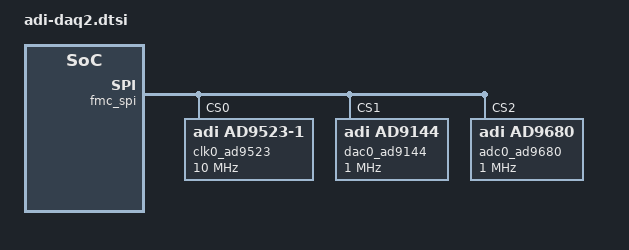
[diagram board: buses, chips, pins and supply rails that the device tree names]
// SPDX-License-Identifier: GPL-2.0
/*
 * Analog Devices AD-FMCDAQ2-EBZ
 * Link: https://wiki.analog.com/resources/eval/user-guides/ad-fmcdaq2-ebz
 *
 * board_revision: <Rev.C or later>
 *
 * Copyright 2016-2022 Analog Devices Inc.
 */
#include <dt-bindings/iio/adc/adi,ad9208.h>

&fmc_spi {
	clk0_ad9523: ad9523-1@0 {
		#address-cells = <1>;
		#size-cells = <0>;
		compatible = "adi,ad9523-1";
		reg = <0>;

		spi-max-frequency = <10000000>;

		clock-output-names =
			"ad9523-1_out0", "ad9523-1_out1", "ad9523-1_out2",
			"ad9523-1_out3", "ad9523-1_out4", "ad9523-1_out5",
			"ad9523-1_out6", "ad9523-1_out7", "ad9523-1_out8",
			"ad9523-1_out9", "ad9523-1_out10", "ad9523-1_out11",
			"ad9523-1_out12", "ad9523-1_out13";
		#clock-cells = <1>;

		adi,vcxo-freq = <125000000>;
		adi,spi-3wire-enable;
		adi,pll1-bypass-enable;
		adi,osc-in-diff-enable;

		adi,pll2-charge-pump-current-nA = <413000>;

		/*
		 * Valid ranges based on VCO locking range:
		 *    980.00 MHz - 1033.33 MHz
		 *    735.00 MHz -  775.00 MHz
		 *    588.00 MHz -  620.00 MHz
		 */
		adi,pll2-m1-freq = <1000000000>;

		/* Manual PLL2 divider configuration */
//		adi,pll2-r2-div = <1>;
//		adi,pll2-vco-div-m1 = <3>;
//		adi,pll2-ndiv-a-cnt = <0>; /* a = N % 4 */
//		adi,pll2-ndiv-b-cnt = <6>; /* b = N / 4 */

		adi,rpole2 = <0>;
		adi,rzero = <7>;
		adi,cpole1 = <2>;

		ad9523_0_c1:channel@1 {
			reg = <1>;
			adi,extended-name = "DAC_CLK";
			adi,driver-mode = <3>;
			adi,divider-phase = <1>;
			adi,channel-divider = <1>;
		};

		ad9523_0_c4:channel@4 {
			reg = <4>;
			adi,extended-name = "ADC_CLK_FMC";
			adi,driver-mode = <3>;
			adi,divider-phase = <1>;
			adi,channel-divider = <2>;
		};

		ad9523_0_c5:channel@5 {
			reg = <5>;
			adi,extended-name = "ADC_SYSREF";
			adi,driver-mode = <3>;
			adi,divider-phase = <1>;
			adi,channel-divider = <128>;
		};

		ad9523_0_c6:channel@6 {
			reg = <6>;
			adi,extended-name = "CLKD_ADC_SYSREF";
			adi,driver-mode = <3>;
			adi,divider-phase = <1>;
			adi,channel-divider = <128>;
		};

		ad9523_0_c7:channel@7 {
			reg = <7>;
			adi,extended-name = "CLKD_DAC_SYSREF";
			adi,driver-mode = <3>;
			adi,divider-phase = <1>;
			adi,channel-divider = <128>;
		};

		ad9523_0_c8:channel@8 {
			reg = <8>;
			adi,extended-name = "DAC_SYSREF";
			adi,driver-mode = <3>;
			adi,divider-phase = <1>;
			adi,channel-divider = <128>;
		};

		ad9523_0_c9:channel@9 {
			reg = <9>;
			adi,extended-name = "FMC_DAC_REF_CLK";
			adi,driver-mode = <3>;
			adi,divider-phase = <1>;
			adi,channel-divider = <2>;
		};

		ad9523_0_c13:channel@13 {
			reg = <13>;
			adi,extended-name = "ADC_CLK";
			adi,driver-mode = <3>;
			adi,divider-phase = <1>;
			adi,channel-divider = <1>;
		};
	};

	dac0_ad9144: ad9144@1 {
		#address-cells = <1>;
		#size-cells = <0>;
		compatible = "adi,ad9144";
		reg = <1>;

		spi-max-frequency = <1000000>;

		clocks = <&clk0_ad9523 1>;
		clock-names = "dac_clk";

		/*
		 * | MODE | M | L | S | F | HD | N  | N' |
		 * |  00  | 4 | 8 | 1 | 1 | 1  | 16 | 16 |
		 * |  01  | 4 | 8 | 2 | 2 | 0  | 16 | 16 |
		 * |  02  | 4 | 4 | 1 | 2 | 0  | 16 | 16 |
		 * |  03  | 4 | 2 | 1 | 4 | 0  | 16 | 16 |
		 * |  04  | 2 | 4 | 1 | 1 | 1  | 16 | 16 |
		 * |  05  | 2 | 4 | 2 | 2 | 0  | 16 | 16 |
		 * |  06  | 2 | 2 | 1 | 2 | 0  | 16 | 16 |
		 * |  07  | 2 | 1 | 1 | 4 | 0  | 16 | 16 |
		 * |  08  | 1 | 4 | 2 | 1 | 1  | 16 | 16 |
		 * |  09  | 1 | 2 | 1 | 1 | 1  | 16 | 16 |
		 * |  10  | 1 | 1 | 1 | 2 | 0  | 16 | 16 |
		 * |  11  | 2 | 8 | 2 | 1 | 1  | 16 | 16 |
		 * |  12  | 2 | 4 | 1 | 1 | 1  | 16 | 16 |
		 * |  13  | 2 | 2 | 1 | 2 | 0  | 16 | 16 |
		 */

		adi,jesd-link-mode = <4>;
		adi,sysref-mode = <1>; /* JESD204_SYSREF_CONTINUOUS */
		adi,subclass = <1>;
		adi,interpolation = <1>;
		adi,frequency-center-shift = <0>;

		/* jesd204-fsm support */
		jesd204-device;
		#jesd204-cells = <2>;
		jesd204-top-device = <1>; /* This is the TOP device */
		jesd204-link-ids = <0>;
		jesd204-inputs = <&axi_ad9144_core 1 0>;
	};

	adc0_ad9680: ad9680@2 {
		#address-cells = <1>;
		#size-cells = <0>;
		compatible = "adi,ad9680";
		reg = <2>;

		spi-max-frequency = <1000000>;

		clocks = <&axi_ad9680_jesd>, <&clk0_ad9523 13>, <&clk0_ad9523 5>;
		clock-names = "jesd_adc_clk", "adc_clk", "adc_sysref";

		/* jesd204-fsm support */
		jesd204-device;
		#jesd204-cells = <2>;
		jesd204-top-device = <0>; /* This is the TOP device */
		jesd204-link-ids = <0>;
		jesd204-inputs = <&axi_ad9680_core 0 0>;

		adi,powerdown-mode = <AD9208_PDN_MODE_POWERDOWN>;

		adi,sampling-frequency = /bits/ 64 <1000000000>;
		adi,input-clock-divider-ratio = <1>;

		adi,sysref-lmfc-offset = <0>;
		adi,sysref-pos-window-skew = <0>;
		adi,sysref-neg-window-skew = <0>;
		adi,sysref-mode = <AD9208_SYSREF_CONT>;
		adi,sysref-nshot-ignore-count = <0>;

		/* JESD204 parameters */

		adi,converters-per-device = <2>;	/* JESD204 (M) */
		adi,lanes-per-device = <4>;		/* JESD204 (L) */
		adi,octets-per-frame = <1>;		/* JESD204 (F) */
		adi,frames-per-multiframe = <32>;	/* JESD204 (K) */
		adi,converter-resolution = <14>;	/* JESD204 (N) */
		adi,bits-per-sample = <16>;		/* JESD204 (N') */
		adi,control-bits-per-sample = <2>;	/* JESD204 (CS) */
		adi,subclass = <1>;			/* JESD204 (SUBCLASSV) */

		/* DDC setup */

		adi,ddc-channel-number = <AD9208_FULL_BANDWIDTH_MODE>;

		ad9208_ddc0: channel@0 {
			reg = <0>;
			adi,decimation = <2>;
			adi,nco-mode-select = <AD9208_NCO_MODE_VIF>;
			adi,nco-channel-carrier-frequency-hz = /bits/ 64 <70000000>;
			adi,nco-channel-phase-offset = /bits/ 64 <0>;
		};
	};
};
